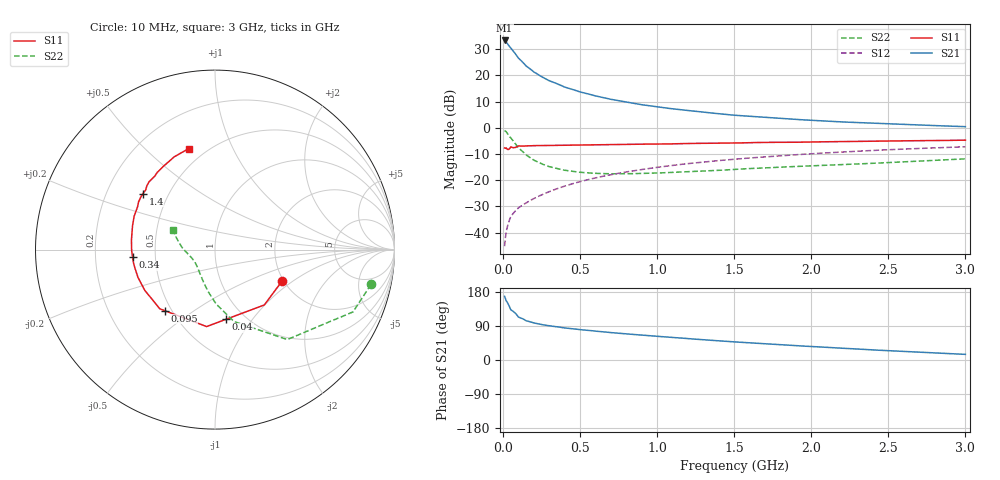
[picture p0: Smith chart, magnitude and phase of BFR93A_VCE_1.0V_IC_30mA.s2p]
! Infineon Technologies  Discrete & RF Semiconductors
! BFR93A
! VCE =  1.0 V,  IC =  30 mA
! Common Emitter S-Parameters:  Nov 2015
# GHz  S  MA  R  50
!  f  S11  S21  S12  S22
! GHz  MAG  ANG  MAG  ANG  MAG  ANG  MAG  ANG
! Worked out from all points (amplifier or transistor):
!   180 points, 10 MHz to 3 GHz, reference 50 ohm
!   highest |S21| = 33.3 dB at 10 MHz (marker M1)
!   |S21| within 3 dB of that: start of sweep to 52.21 MHz
!   unconditionally stable (mu >= 1): 273.5 MHz to end of sweep
!   at 160 MHz: K = 0.84, MSG = 25.7 dB, |S12| = -28.3 dB
!   at 1.22 GHz: K = 1.10, MAG = 8.1 dB, |S12| = -13.6 dB
!   at 3 GHz: K = 1.03, MAG = 2.7 dB, |S12| = -7.2 dB
!   S11 on the Smith chart (normalised r, x): 10 MHz: 1.96, -0.83; 40 MHz: 0.82, -0.75; 95 MHz: 0.46, -0.39; 340 MHz: 0.37, -0.04; 1.4 GHz: 0.36, +0.30; 3 GHz: 0.41, +0.69
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0.01  0.4126 -25.3  46.45 167.8  0.0055 80.5  0.8907 -12.6
0.02  0.413 -48.3  43.76 156.8  0.0103 73.4  0.8436 -24.3
0.04  0.3933 -81.1  36.13 142.2  0.0169 64.5  0.6912 -40.6
0.05  0.4313 -96.2  33.48 132.7  0.0203 62.3  0.6429 -51.2
0.095  0.4411 -129.6  22.38 116.1  0.0288 58.6  0.432 -71.8
0.1  0.4509 -133.0  21.33 113.2  0.0297 58.3  0.4139 -75.3
0.15  0.4524 -150.0  15.11 103.5  0.0368 60.2  0.3023 -88.9
0.155  0.4521 -151.0  14.75 103.0  0.0376 60.5  0.2958 -89.7
0.2  0.4562 -160.1  11.63 97.7  0.0446 62.7  0.2408 -98.5
0.24  0.4573 -165.5  9.853 94.4  0.0508 64.3  0.2117 -104.5
0.3  0.4604 -171.4  7.907 90.0  0.0604 66.1  0.1811 -112.8
0.34  0.4609 -174.6  7.128 88.2  0.0671 66.8  0.1698 -116.9
0.4  0.4644 -179.3  5.978 84.6  0.0771 67.6  0.1547 -124.0
0.52  0.4686 173.4  4.678 79.4  0.0972 67.7  0.14 -133.3
0.6  0.4712 169.7  4.057 76.1  0.1106 67.4  0.135 -139.4
0.7  0.4767 165.5  3.495 72.3  0.1273 66.7  0.1324 -145.3
1.02  0.4897 153.6  2.464 61.9  0.179 63.0  0.1376 -160.0
1.4  0.5088 142.2  1.855 50.6  0.2368 57.5  0.154 -172.0
1.52  0.5115 138.8  1.721 47.3  0.2537 55.8  0.1616 -175.4
2.02  0.5377 126.4  1.379 35.2  0.322 48.3  0.1887 174.4
2.52  0.5595 115.5  1.18 24.2  0.3833 40.4  0.2181 164.8
3  0.5812 104.7  1.051 14.9  0.4345 32.9  0.2554 155.2
